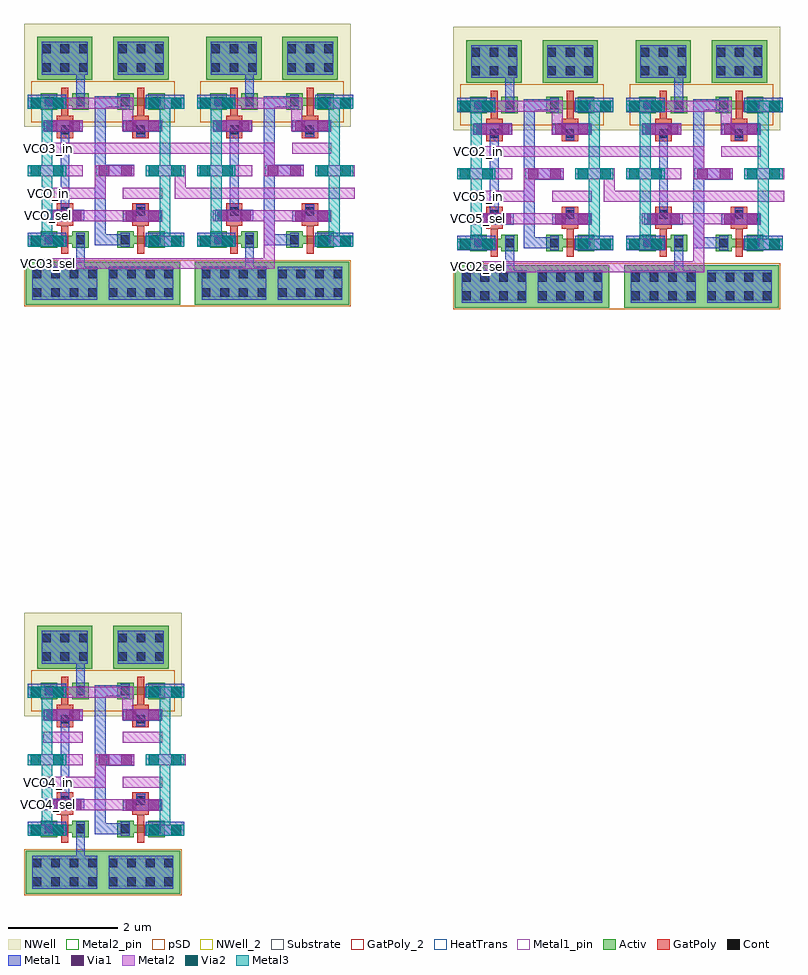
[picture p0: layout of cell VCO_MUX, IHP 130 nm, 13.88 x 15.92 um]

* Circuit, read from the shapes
.subckt VCO_MUX GND VCO2_in VCO2_sel VCO3_in VCO3_sel VCO4_in VCO4_sel VCO5_in VCO5_sel VCO_in VCO_sel
XM1 GND VCO4_sel passgate_scaled_13/en_ GND sg13_lv_nmos w=0.15u l=0.13u
XM2 GND VCO_sel passgate_scaled_4/en_ GND sg13_lv_nmos w=0.15u l=0.13u
XM3 passgate_scaled_13/OI VCO4_sel VCO4_in GND sg13_lv_nmos w=0.15u l=0.13u
XM4 passgate_scaled_4/OI VCO_sel VCO_in GND sg13_lv_nmos w=0.15u l=0.13u
XM5 GND VCO3_sel passgate_scaled_1/en_ GND sg13_lv_nmos w=0.15u l=0.13u
XM6 passgate_scaled_1/OI VCO3_sel VCO3_in GND sg13_lv_nmos w=0.15u l=0.13u
XM7 GND VCO5_sel passgate_scaled_10/en_ GND sg13_lv_nmos w=0.15u l=0.13u
XM8 passgate_scaled_10/OI VCO5_sel VCO5_in GND sg13_lv_nmos w=0.15u l=0.13u
XM9 GND VCO2_sel passgate_scaled_7/en_ GND sg13_lv_nmos w=0.15u l=0.13u
XM10 passgate_scaled_7/OI VCO2_sel VCO2_in GND sg13_lv_nmos w=0.15u l=0.13u
XM11 inverter_14/VP VCO4_sel passgate_scaled_13/en_ inverter_14/VP sg13_lv_pmos w=0.15u l=0.13u
XM12 inverter_2/VP VCO_sel passgate_scaled_4/en_ inverter_2/VP sg13_lv_pmos w=0.15u l=0.13u
XM13 passgate_scaled_13/OI passgate_scaled_13/en_ VCO4_in inverter_14/VP sg13_lv_pmos w=0.15u l=0.13u
XM14 passgate_scaled_4/OI passgate_scaled_4/en_ VCO_in inverter_2/VP sg13_lv_pmos w=0.15u l=0.13u
XM15 inverter_2/VP VCO3_sel passgate_scaled_1/en_ inverter_2/VP sg13_lv_pmos w=0.15u l=0.13u
XM16 passgate_scaled_1/OI passgate_scaled_1/en_ VCO3_in inverter_2/VP sg13_lv_pmos w=0.15u l=0.13u
XM17 inverter_11/VP VCO5_sel passgate_scaled_10/en_ inverter_11/VP sg13_lv_pmos w=0.15u l=0.13u
XM18 passgate_scaled_10/OI passgate_scaled_10/en_ VCO5_in inverter_11/VP sg13_lv_pmos w=0.15u l=0.13u
XM19 inverter_11/VP VCO2_sel passgate_scaled_7/en_ inverter_11/VP sg13_lv_pmos w=0.15u l=0.13u
XM20 passgate_scaled_7/OI passgate_scaled_7/en_ VCO2_in inverter_11/VP sg13_lv_pmos w=0.15u l=0.13u
.ends

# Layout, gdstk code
from math import pi, radians
import gdstk
lib = gdstk.Library(unit=1e-6, precision=1e-09)
def R(c, l, rs):  # rectangles x0, y0, x1, y1
    for r in rs: c.add(gdstk.rectangle(r[:2], r[2:], *l))
def A(c, l, x, y, w, h, nx, ny, dx, dy):  # array of equal rectangles
    R(c, l, [(x+i*dx, y+j*dy, x+i*dx+w, y+j*dy+h) for i in range(nx) for j in range(ny)])
Activ = (1, 0)
GatPoly = (5, 0)
GatPoly_2 = (5, 2)
Cont = (6, 0)
Metal1 = (8, 0)
Metal1_pin = (8, 2)
Metal2 = (10, 0)
Metal2_pin = (10, 2)
pSD = (14, 0)
Via1 = (19, 0)
Via2 = (29, 0)
Metal3 = (30, 0)
NWell = (31, 0)
NWell_2 = (31, 2)
Substrate = (40, 0)
HeatTrans = (51, 0)

via_8 = lib.new_cell('Via$8')
R(via_8, Metal1, [(-0.35,-0.105,0.35,0.105)])
R(via_8, Metal2, [(-0.35,-0.1,0.35,0.1)])
R(via_8, Via1, [(-0.3,-0.095,-0.11,0.095), (0.11,-0.095,0.3,0.095)])

via_5 = lib.new_cell('Via$5')
R(via_5, Metal2, [(-0.35,-0.1,0.35,0.1)])
R(via_5, Via2, [(-0.3,-0.095,-0.11,0.095), (0.11,-0.095,0.3,0.095)])
R(via_5, Metal3, [(-0.35,-0.1,0.35,0.1)])

ntap1_1 = lib.new_cell('ntap1$1')
R(ntap1_1, Activ, [(0,0,1.01,0.78)])
A(ntap1_1, Cont, 0.085, 0.14, 0.16, 0.16, 3, 2, 0.34, 0.34)
R(ntap1_1, Metal1, [(0.085,0.09,0.925,0.69)])
R(ntap1_1, Metal1_pin, [(0.085,0.09,0.925,0.69), (0.085,0.14,0.925,0.64)])
R(ntap1_1, NWell, [(-0.24,-0.24,1.25,1.02), (0,0,1.01,0.78)])
R(ntap1_1, NWell_2, [(0,0,1.01,0.78)])
ntap1_1.add(gdstk.Label('well', (0.505,0.01), layer=63, texttype=0))
ntap1_1.add(gdstk.Label('well', (0.505,0.01), layer=31, texttype=0))

ptap1_1 = lib.new_cell('ptap1$1')
R(ptap1_1, Activ, [(0,0,1.43,0.78)])
A(ptap1_1, Cont, 0.125, 0.14, 0.16, 0.16, 4, 2, 0.34, 0.34)
R(ptap1_1, Metal1, [(0.125,0.09,1.305,0.69), (0.125,0.14,1.305,0.64)])
R(ptap1_1, Metal1_pin, [(0.125,0.14,1.305,0.64)])
R(ptap1_1, pSD, [(-0.03,-0.03,1.46,0.81)])
R(ptap1_1, Substrate, [(0,0,1.43,0.78)])
ptap1_1.add(gdstk.Label('sub!', (0.715,0.01), layer=63, texttype=0))
ptap1_1.add(gdstk.Label('sub!', (0.715,0.01), layer=40, texttype=0))

via_10 = lib.new_cell('Via$10')
R(via_10, Metal1, [(-0.35,-0.105,0.35,0.105)])
R(via_10, Metal2, [(-0.35,-0.1,0.35,0.1)])
R(via_10, Via1, [(-0.3,-0.095,-0.11,0.095), (0.11,-0.095,0.3,0.095)])

nmos_1 = lib.new_cell('nmos$1')
R(nmos_1, Activ, [(0,0,0.3,0.3), (0.57,0,0.87,0.3), (0,0.075,0.87,0.225)])
R(nmos_1, GatPoly, [(0.37,-0.105,0.5,0.405)])
R(nmos_1, GatPoly_2, [(0.37,-0.105,0.5,0.405)])
R(nmos_1, Cont, [(0.07,0.07,0.23,0.23), (0.64,0.07,0.8,0.23)])
R(nmos_1, Metal1, [(0.07,0.02,0.23,0.28), (0.64,0.02,0.8,0.28)])
R(nmos_1, Metal1_pin, [(0.07,0.02,0.23,0.28), (0.64,0.02,0.8,0.28)])
R(nmos_1, HeatTrans, [(0.37,-0.105,0.5,0.405)])
nmos_1.add(gdstk.Label('nmos', (0.435,0.15), layer=63, texttype=0))
nmos_1.add(gdstk.Label('nmos', (0.435,0.15), layer=51, texttype=0))

pmos_1 = lib.new_cell('pmos$1')
R(pmos_1, Activ, [(0,0,0.3,0.3), (0.57,0,0.87,0.3), (0,0.075,0.87,0.225)])
R(pmos_1, GatPoly, [(0.37,-0.105,0.5,0.405), (0.37,-0.105,0.5,0.405)])
R(pmos_1, Cont, [(0.07,0.07,0.23,0.23), (0.64,0.07,0.8,0.23)])
R(pmos_1, Metal1, [(0.07,0.02,0.23,0.28), (0.07,0.02,0.23,0.28), (0.64,0.02,0.8,0.28), (0.64,0.02,0.8,0.28)])
R(pmos_1, pSD, [(-0.18,-0.225,1.05,0.525)])
R(pmos_1, NWell, [(-0.31,-0.31,1.18,0.61)])
R(pmos_1, Substrate, [(0.57,0,0.87,0.3)])
R(pmos_1, HeatTrans, [(0.37,-0.105,0.5,0.405)])
pmos_1.add(gdstk.Label('pmos', (0.435,0.15), layer=63, texttype=0))
pmos_1.add(gdstk.Label('pmos', (0.435,0.15), layer=51, texttype=0))

via_12 = lib.new_cell('Via$12')
R(via_12, GatPoly, [(-0.15,-0.15,0.15,0.15)])
R(via_12, Cont, [(-0.08,-0.08,0.08,0.08)])
R(via_12, Metal1, [(-0.13,-0.08,0.13,0.08)])

passgate_scaled = lib.new_cell('passgate_scaled')
R(passgate_scaled, GatPoly, [(9.375,7.165,9.675,7.275), (9.375,9.065,9.675,9.175)])
R(passgate_scaled, Metal1, [(9.62,6.78,10.32,7.04), (9.62,9.3,10.32,9.56)])
R(passgate_scaled, Metal1_pin, [(9.16,6.015,9.36,6.215), (9.325,10.12,9.525,10.32)])
R(passgate_scaled, Metal2_pin, [(9.2,7.24,9.4,7.44), (8.71,8.07,8.91,8.27), (10.12,8.07,10.32,8.27), (9.2,8.89,9.4,9.09)])
passgate_scaled.add(gdstk.FlexPath([(9.105,9.43),(8.785,9.43),(8.785,6.91),(9.105,6.91)], 0.2, ends="flush", simple_path=True, layer=8, datatype=0))  # Metal1
passgate_scaled.add(gdstk.FlexPath([(9.045,6.91),(9.225,6.91)], 0.2, ends="flush", simple_path=True, layer=8, datatype=0))  # Metal1
passgate_scaled.add(gdstk.FlexPath([(8.995,9.43),(9.245,9.43)], 0.2, ends="flush", simple_path=True, layer=8, datatype=0))  # Metal1
passgate_scaled.add(gdstk.FlexPath([(10.32,8.17),(9.62,8.17)], 0.2, ends="flush", simple_path=True, layer=10, datatype=0))  # Metal2
passgate_scaled.add(gdstk.FlexPath([(9.765,9.405),(9.6,9.405)], 0.2, ends="flush", simple_path=True, layer=10, datatype=0))  # Metal2
passgate_scaled.add(gdstk.FlexPath([(9.765,6.885),(9.6,6.885)], 0.2, ends="flush", simple_path=True, layer=10, datatype=0))  # Metal2
passgate_scaled.add(gdstk.FlexPath([(9.41,8.17),(8.71,8.17)], 0.2, ends="flush", simple_path=True, layer=10, datatype=0))  # Metal2
passgate_scaled.add(gdstk.FlexPath([(9.35,7.345),(9.92,7.345)], 0.2, ends="flush", simple_path=True, layer=10, datatype=0))  # Metal2
passgate_scaled.add(gdstk.FlexPath([(10.22,8.17),(10.345,8.17)], 0.2, ends="flush", simple_path=True, layer=10, datatype=0))  # Metal2
passgate_scaled.add(gdstk.FlexPath([(8.81,8.17),(8.685,8.17)], 0.2, ends="flush", simple_path=True, layer=10, datatype=0))  # Metal2
passgate_scaled.add(gdstk.FlexPath([(9.2,7.34),(9.92,7.34)], 0.2, ends="flush", simple_path=True, layer=10, datatype=0))  # Metal2
passgate_scaled.add(gdstk.FlexPath([(9.2,8.99),(9.92,8.99)], 0.2, ends="flush", simple_path=True, layer=10, datatype=0))  # Metal2
passgate_scaled.add(gdstk.FlexPath([(9.2,8.58),(9.92,8.58)], 0.2, ends="flush", simple_path=True, layer=10, datatype=0))  # Metal2
passgate_scaled.add(gdstk.FlexPath([(9.2,7.76),(9.92,7.76)], 0.2, ends="flush", simple_path=True, layer=10, datatype=0))  # Metal2
passgate_scaled.add(gdstk.FlexPath([(9.97,6.885),(9.97,8.17)], 0.2, ends="flush", simple_path=True, layer=30, datatype=0))  # Metal3
passgate_scaled.add(gdstk.FlexPath([(9.97,9.405),(9.97,8.17)], 0.2, ends="flush", simple_path=True, layer=30, datatype=0))  # Metal3
passgate_scaled.add(gdstk.Reference(via_5, (9.97,6.885)))
passgate_scaled.add(gdstk.Reference(ntap1_1, (9.025,9.835)))
passgate_scaled.add(gdstk.Reference(ptap1_1, (8.815,5.725)))
passgate_scaled.add(gdstk.Reference(via_10, (9.97,6.885), rotation=pi))
passgate_scaled.add(gdstk.Reference(nmos_1, (9.095,6.76)))
passgate_scaled.add(gdstk.Reference(pmos_1, (9.095,9.28)))
passgate_scaled.add(gdstk.Reference(via_12, (9.525,8.915), rotation=pi/2))
passgate_scaled.add(gdstk.Reference(via_12, (9.525,7.425), rotation=3*pi/2))
passgate_scaled.add(gdstk.Reference(via_5, (9.97,9.405)))
passgate_scaled.add(gdstk.Reference(via_10, (9.555,8.99), rotation=pi))
passgate_scaled.add(gdstk.Reference(via_10, (9.97,9.405), rotation=pi))
passgate_scaled.add(gdstk.Reference(via_5, (9.97,8.17)))
passgate_scaled.add(gdstk.Reference(via_10, (9.555,7.345)))
passgate_scaled.add(gdstk.Reference(via_10, (9.06,8.17)))
passgate_scaled.add(gdstk.Label('OI', (10.22,8.17), layer=10, texttype=25))
passgate_scaled.add(gdstk.Label('IO', (8.81,8.17), layer=10, texttype=25))
passgate_scaled.add(gdstk.Label('en_', (9.3,8.99), layer=10, texttype=25))
passgate_scaled.add(gdstk.Label('en', (9.3,7.34), layer=10, texttype=25))
passgate_scaled.add(gdstk.Label('VP', (9.295,10.22), layer=8, texttype=25))
passgate_scaled.add(gdstk.Label('GND', (9.26,6.115), layer=8, texttype=25))

via_4 = lib.new_cell('Via$4')
R(via_4, Metal2, [(-0.1,-0.35,0.1,0.35)])
R(via_4, Via2, [(-0.095,-0.3,0.095,-0.11), (-0.095,0.11,0.095,0.3)])
R(via_4, Metal3, [(-0.1,-0.35,0.1,0.35)])

ntap1 = lib.new_cell('ntap1')
R(ntap1, Activ, [(0,0,1.01,0.78)])
A(ntap1, Cont, 0.085, 0.14, 0.16, 0.16, 3, 2, 0.34, 0.34)
R(ntap1, Metal1, [(0.085,0.09,0.925,0.69)])
R(ntap1, Metal1_pin, [(0.085,0.09,0.925,0.69), (0.085,0.14,0.925,0.64)])
R(ntap1, NWell, [(-0.24,-0.24,1.25,1.02), (0,0,1.01,0.78)])
R(ntap1, NWell_2, [(0,0,1.01,0.78)])
ntap1.add(gdstk.Label('well', (0.505,0.01), layer=63, texttype=0))
ntap1.add(gdstk.Label('well', (0.505,0.01), layer=31, texttype=0))

ptap1 = lib.new_cell('ptap1')
R(ptap1, Activ, [(0,0,1.43,0.78)])
A(ptap1, Cont, 0.125, 0.14, 0.16, 0.16, 4, 2, 0.34, 0.34)
R(ptap1, Metal1, [(0.125,0.09,1.305,0.69), (0.125,0.14,1.305,0.64)])
R(ptap1, Metal1_pin, [(0.125,0.14,1.305,0.64)])
R(ptap1, pSD, [(-0.03,-0.03,1.46,0.81)])
R(ptap1, Substrate, [(0,0,1.43,0.78)])
ptap1.add(gdstk.Label('sub!', (0.715,0.01), layer=63, texttype=0))
ptap1.add(gdstk.Label('sub!', (0.715,0.01), layer=40, texttype=0))

via_2 = lib.new_cell('Via$2')
R(via_2, Metal1, [(-0.105,-0.35,0.105,0.35)])
R(via_2, Metal2, [(-0.1,-0.35,0.1,0.35)])
R(via_2, Via1, [(-0.095,-0.3,0.095,-0.11), (-0.095,0.11,0.095,0.3)])

nmos = lib.new_cell('nmos')
R(nmos, Activ, [(0,0,0.3,0.3), (0.57,0,0.87,0.3), (0,0.075,0.87,0.225)])
R(nmos, GatPoly, [(0.37,-0.105,0.5,0.405)])
R(nmos, GatPoly_2, [(0.37,-0.105,0.5,0.405)])
R(nmos, Cont, [(0.07,0.07,0.23,0.23), (0.64,0.07,0.8,0.23)])
R(nmos, Metal1, [(0.07,0.02,0.23,0.28), (0.64,0.02,0.8,0.28)])
R(nmos, Metal1_pin, [(0.07,0.02,0.23,0.28), (0.64,0.02,0.8,0.28)])
R(nmos, HeatTrans, [(0.37,-0.105,0.5,0.405)])
nmos.add(gdstk.Label('nmos', (0.435,0.15), layer=63, texttype=0))
nmos.add(gdstk.Label('nmos', (0.435,0.15), layer=51, texttype=0))

pmos = lib.new_cell('pmos')
R(pmos, Activ, [(0,0,0.3,0.3), (0.57,0,0.87,0.3), (0,0.075,0.87,0.225)])
R(pmos, GatPoly, [(0.37,-0.105,0.5,0.405), (0.37,-0.105,0.5,0.405)])
R(pmos, Cont, [(0.07,0.07,0.23,0.23), (0.64,0.07,0.8,0.23)])
R(pmos, Metal1, [(0.07,0.02,0.23,0.28), (0.07,0.02,0.23,0.28), (0.64,0.02,0.8,0.28), (0.64,0.02,0.8,0.28)])
R(pmos, pSD, [(-0.18,-0.225,1.05,0.525)])
R(pmos, NWell, [(-0.31,-0.31,1.18,0.61)])
R(pmos, Substrate, [(0.57,0,0.87,0.3)])
R(pmos, HeatTrans, [(0.37,-0.105,0.5,0.405)])
pmos.add(gdstk.Label('pmos', (0.435,0.15), layer=63, texttype=0))
pmos.add(gdstk.Label('pmos', (0.435,0.15), layer=51, texttype=0))

via = lib.new_cell('Via')
R(via, GatPoly, [(-0.15,-0.15,0.15,0.15)])
R(via, Cont, [(-0.08,-0.08,0.08,0.08)])
R(via, Metal1, [(-0.13,-0.08,0.13,0.08)])

via_7 = lib.new_cell('Via$7')
R(via_7, Metal2, [(-0.35,-0.1,0.35,0.1)])
R(via_7, Via2, [(-0.3,-0.095,-0.11,0.095), (0.11,-0.095,0.3,0.095)])
R(via_7, Metal3, [(-0.35,-0.1,0.35,0.1)])

inverter = lib.new_cell('inverter')
R(inverter, GatPoly, [(9.375,7.165,9.675,7.275), (9.375,9.065,9.675,9.175)])
R(inverter, Metal1, [(9.505,6.78,10.205,7.04), (9.505,9.3,10.205,9.56)])
R(inverter, Metal1_pin, [(9.16,6.015,9.36,6.215), (9.325,10.12,9.525,10.32)])
R(inverter, Metal2_pin, [(10.005,8.07,10.205,8.27), (9.2,8.89,9.4,9.09)])
inverter.add(gdstk.FlexPath([(9.245,9.56),(9.245,10.525)], 0.16, ends="flush", simple_path=True, layer=8, datatype=0))  # Metal1
inverter.add(gdstk.FlexPath([(9.245,6.78),(9.245,6.415)], 0.16, ends="flush", simple_path=True, layer=8, datatype=0))  # Metal1
inverter.add(gdstk.FlexPath([(9.525,7.555),(9.525,8.785)], 0.16, ends="flush", simple_path=True, layer=8, datatype=0))  # Metal1
inverter.add(gdstk.FlexPath([(9.65,9.405),(9.485,9.405)], 0.2, ends="flush", simple_path=True, layer=10, datatype=0))  # Metal2
inverter.add(gdstk.FlexPath([(9.65,6.885),(9.485,6.885)], 0.2, ends="flush", simple_path=True, layer=10, datatype=0))  # Metal2
inverter.add(gdstk.FlexPath([(9.2,8.99),(9.92,8.99)], 0.2, ends="flush", simple_path=True, layer=10, datatype=0))  # Metal2
inverter.add(gdstk.FlexPath([(9.2,8.58),(9.92,8.58)], 0.2, ends="flush", simple_path=True, layer=10, datatype=0))  # Metal2
inverter.add(gdstk.FlexPath([(9.2,7.76),(9.92,7.76)], 0.2, ends="flush", simple_path=True, layer=10, datatype=0))  # Metal2
inverter.add(gdstk.FlexPath([(9.2,7.35),(9.92,7.35)], 0.2, ends="flush", simple_path=True, layer=10, datatype=0))  # Metal2
inverter.add(gdstk.FlexPath([(9.2,8.17),(10.205,8.17)], 0.2, ends="flush", simple_path=True, layer=10, datatype=0))  # Metal2
inverter.add(gdstk.FlexPath([(9.855,6.885),(9.855,8.17)], 0.2, ends="flush", simple_path=True, layer=30, datatype=0))  # Metal3
inverter.add(gdstk.FlexPath([(9.855,9.405),(9.855,8.17)], 0.2, ends="flush", simple_path=True, layer=30, datatype=0))  # Metal3
inverter.add(gdstk.Reference(via_4, (9.855,6.885), rotation=3*pi/2))
inverter.add(gdstk.Reference(ntap1, (9.025,9.835)))
inverter.add(gdstk.Reference(ptap1, (8.815,5.725)))
inverter.add(gdstk.Reference(via_2, (9.855,6.885), rotation=3*pi/2))
inverter.add(gdstk.Reference(nmos, (9.095,6.76)))
inverter.add(gdstk.Reference(pmos, (9.095,9.28)))
inverter.add(gdstk.Reference(via, (9.525,8.915), rotation=pi/2))
inverter.add(gdstk.Reference(via, (9.525,7.425), rotation=3*pi/2))
inverter.add(gdstk.Reference(via_4, (9.855,9.405), rotation=3*pi/2))
inverter.add(gdstk.Reference(via_2, (9.555,8.99), rotation=3*pi/2))
inverter.add(gdstk.Reference(via_2, (9.855,9.405), rotation=3*pi/2))
inverter.add(gdstk.Reference(via_7, (9.855,8.17)))
inverter.add(gdstk.Label('out', (10.105,8.17), layer=10, texttype=25))
inverter.add(gdstk.Label('in', (9.3,8.99), layer=10, texttype=25))
inverter.add(gdstk.Label('VP', (9.295,10.22), layer=8, texttype=25))
inverter.add(gdstk.Label('GND', (9.26,6.115), layer=8, texttype=25))

vco_mux = lib.new_cell('VCO_MUX')
R(vco_mux, Metal2_pin, [(7.75,-3.51,7.95,-3.31), (7.75,-3.1,7.95,-2.9), (15.59,6.315,15.79,6.515), (7.75,6.375,7.95,6.575), (15.59,7.19,15.79,7.39), (7.75,7.25,7.95,7.45), (15.59,7.6,15.79,7.8), (7.75,7.66,7.95,7.86), (15.59,8.42,15.79,8.62), (7.75,8.48,7.95,8.68)])
R(vco_mux, pSD, [(7.525,-1.705,10.145,-0.955), (17.92,5.635,18.405,6.475), (10.08,5.695,10.565,6.535), (15.365,8.995,17.985,9.745), (18.455,8.995,21.075,9.745), (7.525,9.055,10.145,9.805), (10.615,9.055,13.235,9.805)])
R(vco_mux, NWell, [(17.725,8.91,18.565,10.795), (9.885,8.97,10.725,10.855)])
vco_mux.add(gdstk.FlexPath([(8.37,7.35),(9.92,7.35)], 0.2, ends="flush", simple_path=True, layer=10, datatype=0))  # Metal2
vco_mux.add(gdstk.FlexPath([(8.145,7.35),(8.145,7.35)], 0.2, ends="flush", simple_path=True, layer=10, datatype=0))  # Metal2
vco_mux.add(gdstk.FlexPath([(8.105,9.405),(9.29,9.405),(9.29,8.89)], 0.2, ends="flush", simple_path=True, layer=10, datatype=0))  # Metal2
vco_mux.add(gdstk.FlexPath([(8.39,7.76),(8.785,7.76),(8.785,8.27)], 0.2, ends="flush", simple_path=True, layer=10, datatype=0))  # Metal2
vco_mux.add(gdstk.FlexPath([(12.8,7.76),(13.435,7.76)], 0.2, ends="flush", simple_path=True, layer=10, datatype=0))  # Metal2
vco_mux.add(gdstk.FlexPath([(11.405,7.76),(13.01,7.76)], 0.2, ends="flush", simple_path=True, layer=10, datatype=0))  # Metal2
vco_mux.add(gdstk.FlexPath([(11.395,8.58),(11.875,8.58),(11.875,8.07)], 0.2, ends="flush", simple_path=True, layer=10, datatype=0))  # Metal2
vco_mux.add(gdstk.FlexPath([(11.195,9.405),(12.38,9.405),(12.38,8.89)], 0.2, ends="flush", simple_path=True, layer=10, datatype=0))  # Metal2
vco_mux.add(gdstk.FlexPath([(11.235,7.35),(11.235,7.35)], 0.2, ends="flush", simple_path=True, layer=10, datatype=0))  # Metal2
vco_mux.add(gdstk.FlexPath([(11.46,7.35),(13.01,7.35)], 0.2, ends="flush", simple_path=True, layer=10, datatype=0))  # Metal2
vco_mux.add(gdstk.FlexPath([(11.03,8.58),(8.375,8.58)], 0.2, ends="flush", simple_path=True, layer=10, datatype=0))  # Metal2
vco_mux.add(gdstk.FlexPath([(11.07,7.76),(10.245,7.76),(10.245,8.27)], 0.2, ends="flush", simple_path=True, layer=10, datatype=0))  # Metal2
vco_mux.add(gdstk.FlexPath([(11.875,7.36),(11.875,6.475),(11.085,6.475)], 0.2, ends="flush", simple_path=True, layer=10, datatype=0))  # Metal2
vco_mux.add(gdstk.FlexPath([(11.095,6.475),(7.75,6.475)], 0.2, ends="flush", simple_path=True, layer=10, datatype=0))  # Metal2
vco_mux.add(gdstk.FlexPath([(16.21,7.29),(17.76,7.29)], 0.2, ends="flush", simple_path=True, layer=10, datatype=0))  # Metal2
vco_mux.add(gdstk.FlexPath([(15.985,7.29),(15.985,7.29)], 0.2, ends="flush", simple_path=True, layer=10, datatype=0))  # Metal2
vco_mux.add(gdstk.FlexPath([(15.945,9.345),(17.13,9.345),(17.13,8.83)], 0.2, ends="flush", simple_path=True, layer=10, datatype=0))  # Metal2
vco_mux.add(gdstk.FlexPath([(16.23,7.7),(16.625,7.7),(16.625,8.21)], 0.2, ends="flush", simple_path=True, layer=10, datatype=0))  # Metal2
vco_mux.add(gdstk.FlexPath([(20.64,7.7),(21.275,7.7)], 0.2, ends="flush", simple_path=True, layer=10, datatype=0))  # Metal2
vco_mux.add(gdstk.FlexPath([(19.245,7.7),(20.85,7.7)], 0.2, ends="flush", simple_path=True, layer=10, datatype=0))  # Metal2
vco_mux.add(gdstk.FlexPath([(19.235,8.52),(19.715,8.52),(19.715,8.01)], 0.2, ends="flush", simple_path=True, layer=10, datatype=0))  # Metal2
vco_mux.add(gdstk.FlexPath([(19.035,9.345),(20.22,9.345),(20.22,8.83)], 0.2, ends="flush", simple_path=True, layer=10, datatype=0))  # Metal2
vco_mux.add(gdstk.FlexPath([(19.075,7.29),(19.075,7.29)], 0.2, ends="flush", simple_path=True, layer=10, datatype=0))  # Metal2
vco_mux.add(gdstk.FlexPath([(19.3,7.29),(20.85,7.29)], 0.2, ends="flush", simple_path=True, layer=10, datatype=0))  # Metal2
vco_mux.add(gdstk.FlexPath([(18.87,8.52),(16.215,8.52)], 0.2, ends="flush", simple_path=True, layer=10, datatype=0))  # Metal2
vco_mux.add(gdstk.FlexPath([(18.91,7.7),(18.085,7.7),(18.085,8.21)], 0.2, ends="flush", simple_path=True, layer=10, datatype=0))  # Metal2
vco_mux.add(gdstk.FlexPath([(19.715,7.3),(19.715,6.415),(18.925,6.415)], 0.2, ends="flush", simple_path=True, layer=10, datatype=0))  # Metal2
vco_mux.add(gdstk.FlexPath([(18.935,6.415),(15.59,6.415)], 0.2, ends="flush", simple_path=True, layer=10, datatype=0))  # Metal2
vco_mux.add(gdstk.FlexPath([(8.37,-3.41),(9.92,-3.41)], 0.2, ends="flush", simple_path=True, layer=10, datatype=0))  # Metal2
vco_mux.add(gdstk.FlexPath([(8.145,-3.41),(8.145,-3.41)], 0.2, ends="flush", simple_path=True, layer=10, datatype=0))  # Metal2
vco_mux.add(gdstk.FlexPath([(8.105,-1.355),(9.29,-1.355),(9.29,-1.87)], 0.2, ends="flush", simple_path=True, layer=10, datatype=0))  # Metal2
vco_mux.add(gdstk.FlexPath([(8.39,-3),(8.785,-3),(8.785,-2.49)], 0.2, ends="flush", simple_path=True, layer=10, datatype=0))  # Metal2
vco_mux.add(gdstk.Reference(via_8, (11.235,7.35)))
vco_mux.add(gdstk.Reference(passgate_scaled, (3.09,0)))
vco_mux.add(gdstk.Reference(inverter, (20.76,0), rotation=pi, x_reflection=True))
vco_mux.add(gdstk.Reference(via_8, (8.145,7.35)))
vco_mux.add(gdstk.Reference(passgate_scaled, (0,0)))
vco_mux.add(gdstk.Reference(inverter, (17.67,0), rotation=pi, x_reflection=True))
vco_mux.add(gdstk.Reference(via_8, (19.075,7.29)))
vco_mux.add(gdstk.Reference(passgate_scaled, (10.93,-0.06)))
vco_mux.add(gdstk.Reference(inverter, (28.6,-0.06), rotation=pi, x_reflection=True))
vco_mux.add(gdstk.Reference(via_8, (15.985,7.29)))
vco_mux.add(gdstk.Reference(passgate_scaled, (7.84,-0.06)))
vco_mux.add(gdstk.Reference(inverter, (25.51,-0.06), rotation=pi, x_reflection=True))
vco_mux.add(gdstk.Reference(via_8, (8.145,-3.41)))
vco_mux.add(gdstk.Reference(passgate_scaled, (0,-10.76)))
vco_mux.add(gdstk.Reference(inverter, (17.67,-10.76), rotation=pi, x_reflection=True))
vco_mux.add(gdstk.Label('VCO_sel', (7.85,7.35), layer=10, texttype=25))
vco_mux.add(gdstk.Label('VCO_in', (7.85,7.76), layer=10, texttype=25))
vco_mux.add(gdstk.Label('VCO3_sel', (7.85,6.475), layer=10, texttype=25))
vco_mux.add(gdstk.Label('VCO3_in', (7.85,8.58), layer=10, texttype=25))
vco_mux.add(gdstk.Label('VCO5_sel', (15.69,7.29), layer=10, texttype=25))
vco_mux.add(gdstk.Label('VCO5_in', (15.69,7.7), layer=10, texttype=25))
vco_mux.add(gdstk.Label('VCO2_sel', (15.69,6.415), layer=10, texttype=25))
vco_mux.add(gdstk.Label('VCO2_in', (15.69,8.52), layer=10, texttype=25))
vco_mux.add(gdstk.Label('VCO4_sel', (7.85,-3.41), layer=10, texttype=25))
vco_mux.add(gdstk.Label('VCO4_in', (7.85,-3), layer=10, texttype=25))

lib.write_gds('VCO_MUX.gds')
